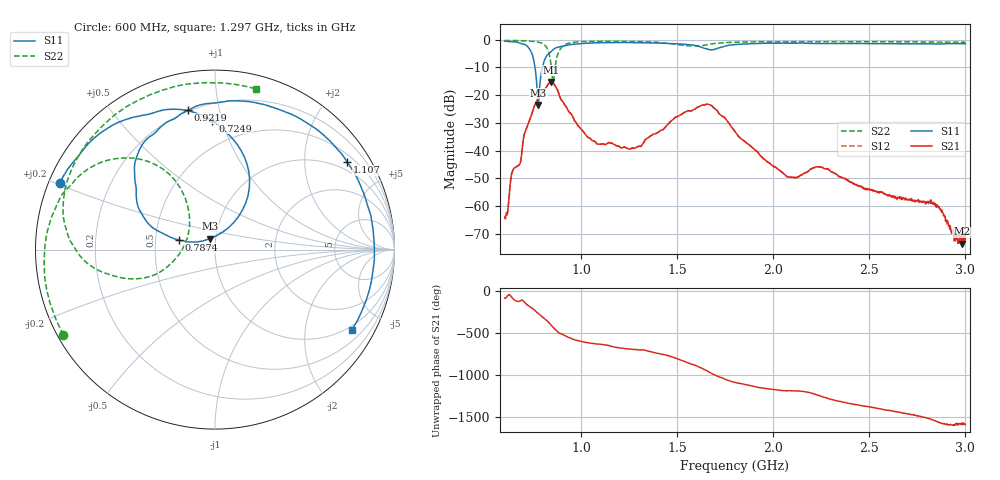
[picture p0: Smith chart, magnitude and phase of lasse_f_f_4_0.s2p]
#  HZ  S  RI  R  50.00
! Rohde & Schwarz ZVB8 2Ports - Version 2.81 - 1145.1010k08 SN: 100113
! Date: 2016-05-04 02:49:48
! Measurements: S11 S21 S12 S22
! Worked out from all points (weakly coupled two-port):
!   1000 points, 600 MHz to 3 GHz, reference 50 ohm
!   highest |S21| = -15.20 dB at 840.2 MHz (marker M1); lowest = -73.5 dB at 2.981 GHz (marker M2)
!   lowest |S11| = -23.5 dB at 775.4 MHz (marker M3), VSWR 1.14, Z = 47 + j5.79 ohm
!   |S11| at or under -10 dB: 758.2 MHz to 797 MHz (38.83 MHz wide, 4.99 % of centre)
!   |S22| runs from -15.5 to -0.3 dB; largest |S21 - S12| = 0.0017
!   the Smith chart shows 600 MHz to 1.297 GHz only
!   S11 on the Smith chart (normalised r, x): 600 MHz: 0.03, +0.20; 724.9 MHz: 0.31, +0.93; 787.4 MHz: 0.66, +0.07; 921.9 MHz: 0.19, +0.81; 1.107 GHz: 0.71, +3.17; 1.297 GHz: 0.84, -3.46
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6e8  -0.8663 0.37  9.32e-05 -0.000606  0.000115 -0.00065  -0.8447 -0.4757
6.408408e8  -0.7173 0.5772  0.000773 -0.0042  0.000841 -0.00418  -0.9107 -0.3215
6.768769e8  -0.4848 0.7285  -0.00254 -0.00496  -0.00257 -0.005  -0.9456 -0.1776
7.249249e8  -0.0145 0.7184  -0.0317 -0.00481  -0.0316 -0.00526  -0.9454 0.0384
7.753754e8  -0.0272 0.0613  -0.0112 0.0865  -0.0127 0.0868  -0.8568 0.3003
7.873874e8  -0.2002 0.0533  0.0273 0.0975  0.0263 0.0971  -0.7974 0.3655
8.402402e8  -0.4472 0.4061  0.1406 -0.1019  0.1406 -0.102  -0.1883 0.3346
8.714715e8  -0.3761 0.6192  -0.0423 -0.1247  -0.0416 -0.1246  -0.445 -0.1631
9.219219e8  -0.1491 0.7777  -0.0611 -0.00457  -0.0608 -0.00474  -0.83 0.1174
1.001201e9  0.279 0.8066  -0.0133 0.0199  -0.0133 0.0198  -0.7587 0.5239
1.106907e9  0.7359 0.4886  0.000292 0.0133  0.000156 0.0132  -0.4616 0.8139
1.296697e9  0.7612 -0.4507  0.0109 0.00501  0.0109 0.00509  0.2305 0.895
1.4e9  0.3789 -0.7821  0.0204 -0.00691  0.0204 -0.00689  0.575 0.6868
1.657057e9  -0.4925 -0.4615  -0.0446 0.0526  -0.0452 0.0521  0.8156 0.00102
1.801201e9  -0.7782 -0.2519  0.022 -0.00206  0.0218 -0.00197  0.739 -0.5136
2.072673e9  -0.4969 0.7116  -0.000784 -0.0033  -0.000815 -0.0033  -0.063 -0.911
2.2e9  0.00152 0.8561  -0.00322 -0.00348  -0.0032 -0.00355  -0.4238 -0.8098
2.421021e9  0.7604 0.3868  -0.000171 0.00256  -0.000225 0.00246  -0.823 -0.4082
2.601201e9  0.761 -0.3727  0.00147 0.000536  0.00142 0.000649  -0.9174 0.00602
2.831832e9  0.00903 -0.8401  -5.95e-05 -0.00111  -6.21e-05 -0.00114  -0.7604 0.495
2.980781e9  -0.5026 -0.6826  -0.000126 -0.000168  -0.000133 -0.000137  -0.5322 0.7249
3e9  -0.5556 -0.6377  -0.000255 -0.000161  -0.000281 -0.000208  -0.4946 0.7525
